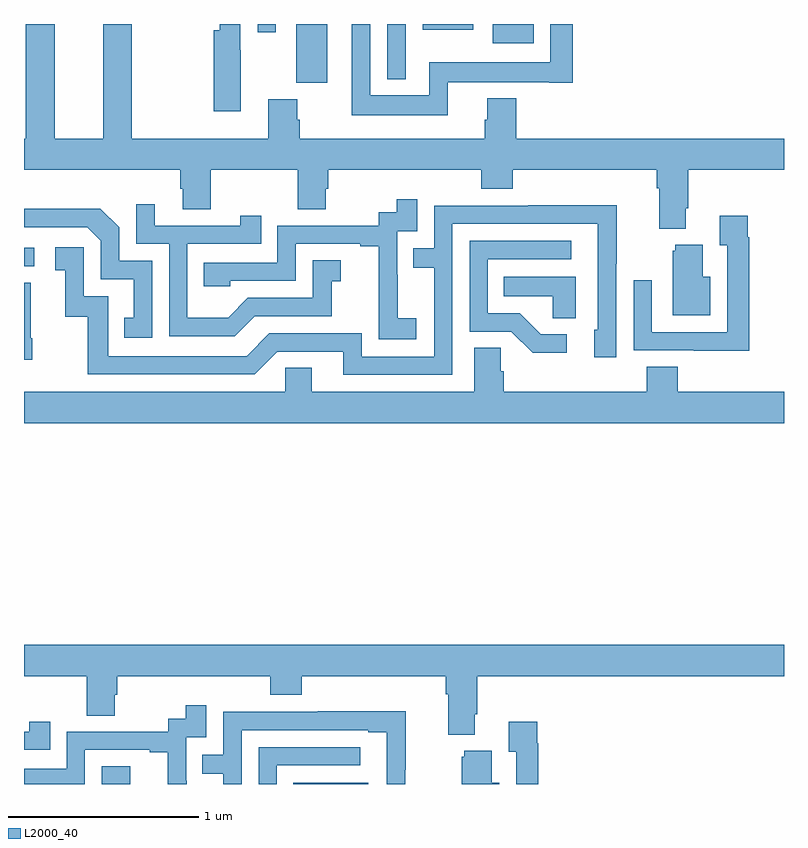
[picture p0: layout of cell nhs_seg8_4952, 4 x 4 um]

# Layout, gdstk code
import gdstk
lib = gdstk.Library(unit=1e-6, precision=1e-09)
def R(c, l, rs):  # rectangles x0, y0, x1, y1
    for r in rs: c.add(gdstk.rectangle(r[:2], r[2:], *l))
def P(c, l, *ps):  # polygons
    for p in ps: c.add(gdstk.Polygon(p, *l))
L2000_40 = (2000, 40)

nhs_seg8_4952 = lib.new_cell('nhs_seg8_4952')
R(nhs_seg8_4952, L2000_40, [(409.41,1147.9,409.558,1147.993), (410.416,1147.9,410.812,1147.906), (409,1150.626,409.054,1150.722), (410.432,1151.59,410.596,1151.9), (410.913,1151.609,411.009,1151.9), (411.467,1151.798,411.682,1151.9), (410.229,1151.856,410.325,1151.9), (411.098,1151.87,411.364,1151.9)])
P(nhs_seg8_4952, L2000_40, [(411.23,1151.594),(411.764,1151.594),(411.764,1151.592),(411.887,1151.592),(411.887,1151.9),(411.771,1151.9),(411.771,1151.698),(411.132,1151.698),(411.132,1151.524),(410.823,1151.524),(410.823,1151.9),(410.726,1151.9),(410.726,1151.42),(411.23,1151.42)],
  [(410.14,1151.762),(410.139,1151.762),(410.139,1151.9),(410.031,1151.9),(410.031,1151.866),(409.999,1151.866),(409.999,1151.442),(410.14,1151.442)],
  [(412.483,1150.93),(412.496,1150.93),(412.496,1151.132),(413,1151.132),(413,1151.296),(411.59,1151.296),(411.59,1151.509),(411.437,1151.509),(411.437,1151.397),(411.425,1151.397),(411.425,1151.296),(410.45,1151.296),(410.45,1151.396),(410.437,1151.396),(410.437,1151.505),(410.285,1151.505),(410.285,1151.296),(409.566,1151.296),(409.566,1151.9),(409.418,1151.9),(409.418,1151.296),(409.162,1151.296),(409.162,1151.9),(409.01,1151.9),(409.01,1151.296),(409,1151.296),(409,1151.132),(409.823,1151.132),(409.823,1151.034),(409.835,1151.034),(409.835,1150.924),(409.983,1150.924),(409.983,1151.132),(410.44,1151.132),(410.44,1150.924),(410.587,1150.924),(410.587,1151.034),(410.6,1151.034),(410.6,1151.132),(411.407,1151.132),(411.407,1151.033),(411.572,1151.033),(411.572,1151.132),(412.331,1151.132),(412.331,1151.036),(412.343,1151.036),(412.343,1150.823),(412.483,1150.823)],
  [(411.064,1150.351),(410.966,1150.351),(410.966,1150.58),(410.964,1150.58),(410.964,1150.809),(411.069,1150.809),(411.069,1150.978),(410.961,1150.978),(410.961,1150.908),(410.868,1150.908),(410.868,1150.839),(410.334,1150.839),(410.334,1150.644),(409.945,1150.644),(409.945,1150.521),(410.085,1150.521),(410.085,1150.548),(410.43,1150.548),(410.43,1150.743),(410.771,1150.743),(410.771,1150.731),(410.867,1150.731),(410.867,1150.447),(410.866,1150.447),(410.866,1150.241),(411.064,1150.241)],
  [(410.215,1150.362),(410.619,1150.362),(410.619,1150.547),(410.668,1150.547),(410.668,1150.657),(410.52,1150.657),(410.52,1150.458),(410.178,1150.458),(410.074,1150.354),(409.86,1150.354),(409.86,1150.743),(410.249,1150.743),(410.249,1150.891),(410.138,1150.891),(410.138,1150.839),(409.687,1150.839),(409.687,1150.951),(409.59,1150.951),(409.59,1150.743),(409.764,1150.743),(409.764,1150.257),(410.11,1150.257)],
  [(411.255,1150.848),(412.02,1150.848),(412.02,1150.29),(412.001,1150.29),(412.001,1150.146),(412.116,1150.146),(412.116,1150.639),(412.119,1150.639),(412.119,1150.946),(411.655,1150.946),(411.655,1150.944),(411.159,1150.944),(411.159,1150.719),(411.049,1150.719),(411.049,1150.618),(411.159,1150.618),(411.159,1150.149),(410.778,1150.149),(410.778,1150.272),(410.292,1150.272),(410.172,1150.152),(409.443,1150.152),(409.443,1150.467),(409.314,1150.467),(409.314,1150.726),(409.164,1150.726),(409.164,1150.605),(409.217,1150.605),(409.217,1150.359),(409.335,1150.359),(409.335,1150.056),(410.214,1150.056),(410.334,1150.176),(410.681,1150.176),(410.681,1150.053),(411.255,1150.053)],
  [(409.674,1150.653),(409.5,1150.653),(409.5,1150.83),(409.402,1150.928),(409,1150.928),(409,1150.83),(409.332,1150.83),(409.404,1150.758),(409.404,1150.557),(409.577,1150.557),(409.577,1150.353),(409.528,1150.353),(409.528,1150.248),(409.674,1150.248)],
  [(412.817,1150.778),(412.81,1150.778),(412.81,1150.891),(412.661,1150.891),(412.661,1150.735),(412.701,1150.735),(412.701,1150.278),(412.305,1150.278),(412.305,1150.552),(412.209,1150.552),(412.209,1150.182),(412.525,1150.182),(412.525,1150.181),(412.817,1150.181)],
  [(411.856,1150.266),(411.721,1150.266),(411.61,1150.377),(411.441,1150.377),(411.441,1150.662),(411.88,1150.662),(411.88,1150.758),(411.345,1150.758),(411.345,1150.281),(411.564,1150.281),(411.677,1150.169),(411.856,1150.169)],
  [(412.612,1150.57),(412.573,1150.57),(412.573,1150.738),(412.427,1150.738),(412.427,1150.707),(412.415,1150.707),(412.415,1150.367),(412.612,1150.367)],
  [(411.904,1150.57),(411.526,1150.57),(411.526,1150.466),(411.783,1150.466),(411.783,1150.351),(411.904,1150.351)],
  [(409.044,1150.246),(409.036,1150.246),(409.036,1150.537),(409,1150.537),(409,1150.134),(409.044,1150.134)],
  [(413,1149.964),(412.442,1149.964),(412.442,1150.097),(412.277,1150.097),(412.277,1149.964),(411.524,1149.964),(411.524,1150.073),(411.51,1150.073),(411.51,1150.196),(411.371,1150.196),(411.371,1149.964),(410.515,1149.964),(410.515,1150.091),(410.376,1150.091),(410.376,1149.964),(409,1149.964),(409,1149.8),(413,1149.8)],
  [(411.373,1148.266),(411.386,1148.266),(411.386,1148.468),(413,1148.468),(413,1148.632),(409,1148.632),(409,1148.468),(409.33,1148.468),(409.33,1148.26),(409.477,1148.26),(409.477,1148.37),(409.49,1148.37),(409.49,1148.468),(410.297,1148.468),(410.297,1148.369),(410.462,1148.369),(410.462,1148.468),(411.221,1148.468),(411.221,1148.372),(411.233,1148.372),(411.233,1148.159),(411.373,1148.159)],
  [(409.32,1148.079),(409.661,1148.079),(409.661,1148.067),(409.757,1148.067),(409.757,1147.9),(409.856,1147.9),(409.856,1147.916),(409.854,1147.916),(409.854,1148.145),(409.959,1148.145),(409.959,1148.314),(409.851,1148.314),(409.851,1148.244),(409.758,1148.244),(409.758,1148.175),(409.224,1148.175),(409.224,1147.98),(409,1147.98),(409,1147.9),(409.32,1147.9)],
  [(410.145,1148.184),(410.813,1148.184),(410.813,1148.172),(410.91,1148.172),(410.91,1147.9),(411.006,1147.9),(411.006,1147.975),(411.009,1147.975),(411.009,1148.282),(410.545,1148.282),(410.545,1148.28),(410.049,1148.28),(410.049,1148.055),(409.939,1148.055),(409.939,1147.954),(410.049,1147.954),(410.049,1147.9),(410.145,1147.9)],
  [(411.707,1148.114),(411.7,1148.114),(411.7,1148.227),(411.551,1148.227),(411.551,1148.071),(411.591,1148.071),(411.591,1147.9),(411.707,1147.9)],
  [(409.139,1148.227),(409.028,1148.227),(409.028,1148.175),(409,1148.175),(409,1148.079),(409.139,1148.079)],
  [(410.331,1147.998),(410.77,1147.998),(410.77,1148.094),(410.235,1148.094),(410.235,1147.9),(410.331,1147.9)],
  [(411.502,1147.906),(411.463,1147.906),(411.463,1148.074),(411.317,1148.074),(411.317,1148.043),(411.305,1148.043),(411.305,1147.9),(411.502,1147.9)])

lib.write_gds('nhs_seg8_4952.gds')
